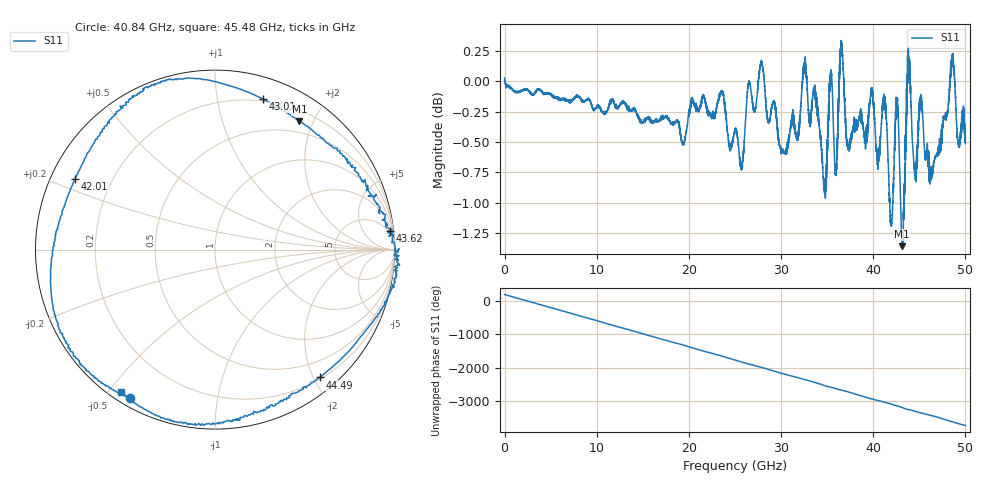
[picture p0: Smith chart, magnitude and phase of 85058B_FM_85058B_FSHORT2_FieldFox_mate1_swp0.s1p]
!Created with skrf (http://scikit-rf.org).
# Hz S RI R 50.0
!freq ReS11 ImS11
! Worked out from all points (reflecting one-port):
!   10000 points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, 5.3 MHz to 50 GHz, reference 50 ohm
!   lowest |S11| = -1.4 dB at 43.14 GHz (marker M1), VSWR 12.81, Z = 17 + j90.4 ohm
!   phase of S11 starts at 180 deg and turns -3896 deg over the sweep
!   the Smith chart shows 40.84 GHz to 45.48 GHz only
!   S11 on the Smith chart (normalised r, x): 40.84 GHz: 0.03, -0.58; 42.01 GHz: 0.07, +0.24; 43.01 GHz: 0.18, +1.35; 43.62 GHz: 3, +18; 44.49 GHz: 0.22, -2.09; 45.48 GHz: 0.03, -0.54
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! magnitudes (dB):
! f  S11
! 5.3 MHz  0.0
! 6.255 GHz  -0.1
! 12.51 GHz  -0.2
! 18.76 GHz  -0.3
! 25.01 GHz  -0.4
! 25.73 GHz  -0.7
! 27.86 GHz  0.2
! 30.02 GHz  -0.6
! 31.26 GHz  -0.3
! 32.59 GHz  0.1
! 34.74 GHz  -0.9
! 35.38 GHz  0.1
! 35.99 GHz  -0.7
! 36.58 GHz  0.3
! 37.51 GHz  -0.5
! 40.84 GHz  -0.4
! 41.29 GHz  -0.2
! 42.01 GHz  -1.2
! 42.57 GHz  -0.2
! 43.01 GHz  -1.1
! 43.14 GHz  -1.4
! 43.62 GHz  -0.1
! 43.76 GHz  0.1
! 44.49 GHz  -0.7
! 45.48 GHz  -0.5
! 46.32 GHz  -0.8
! 48.59 GHz  0.2
! 50 GHz  -0.5
